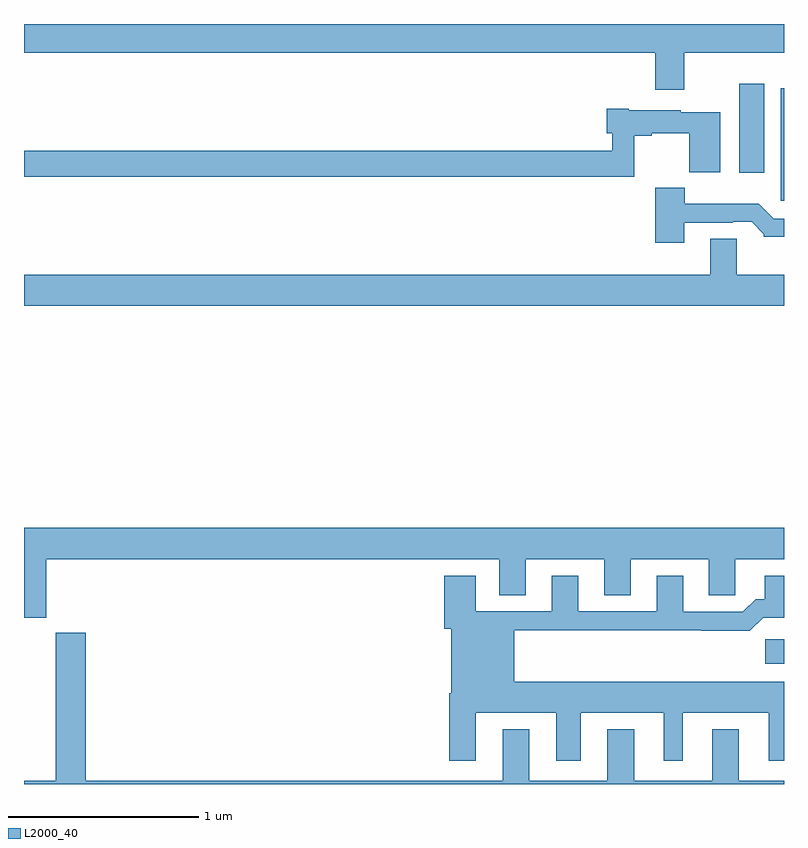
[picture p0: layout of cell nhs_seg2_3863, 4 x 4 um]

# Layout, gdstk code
import gdstk
lib = gdstk.Library(unit=1e-6, precision=1e-09)
def R(c, l, rs):  # rectangles x0, y0, x1, y1
    for r in rs: c.add(gdstk.rectangle(r[:2], r[2:], *l))
def P(c, l, *ps):  # polygons
    for p in ps: c.add(gdstk.Polygon(p, *l))
L2000_40 = (2000, 40)

nhs_seg2_3863 = lib.new_cell('nhs_seg2_3863')
R(nhs_seg2_3863, L2000_40, [(318.9,632.432,319,632.561), (318.983,634.869,319,635.461), (318.764,635.016,318.895,635.485)])
P(nhs_seg2_3863, L2000_40, [(318.475,635.648),(319,635.648),(319,635.8),(315,635.8),(315,635.648),(318.323,635.648),(318.323,635.454),(318.475,635.454)],
  [(318.212,635.213),(318.304,635.213),(318.304,635.225),(318.502,635.225),(318.502,635.021),(318.664,635.021),(318.664,635.335),(318.456,635.335),(318.456,635.347),(318.184,635.347),(318.184,635.355),(318.068,635.355),(318.068,635.225),(318.095,635.225),(318.095,635.132),(315,635.132),(315,634.996),(318.212,634.996)],
  [(318.475,634.755),(318.731,634.755),(318.731,634.758),(318.83,634.758),(318.894,634.694),(318.894,634.679),(319,634.679),(319,634.776),(318.945,634.776),(318.867,634.855),(318.478,634.855),(318.478,634.939),(318.323,634.939),(318.323,634.65),(318.475,634.65)],
  [(319,634.48),(318.751,634.48),(318.751,634.67),(318.611,634.67),(318.611,634.48),(315,634.48),(315,634.316),(319,634.316)],
  [(315.118,632.984),(317.501,632.984),(317.501,632.794),(317.641,632.794),(317.641,632.984),(318.053,632.984),(318.053,632.794),(318.193,632.794),(318.193,632.984),(318.605,632.984),(318.605,632.794),(318.744,632.794),(318.744,632.984),(319,632.984),(319,633.148),(315,633.148),(315,632.675),(315.118,632.675)],
  [(317.377,632.174),(317.801,632.174),(317.801,631.923),(317.929,631.923),(317.929,632.174),(318.368,632.174),(318.368,631.923),(318.466,631.923),(318.466,632.174),(318.92,632.174),(318.92,631.923),(319,631.923),(319,632.338),(317.581,632.338),(317.581,632.608),(318.565,632.608),(318.565,632.606),(318.821,632.606),(318.89,632.675),(319,632.675),(319,632.896),(318.899,632.896),(318.899,632.773),(318.85,632.773),(318.783,632.706),(318.469,632.706),(318.469,632.896),(318.329,632.896),(318.329,632.709),(317.917,632.709),(317.917,632.896),(317.777,632.896),(317.777,632.709),(317.377,632.709),(317.377,632.896),(317.213,632.896),(317.213,632.616),(317.249,632.616),(317.249,632.278),(317.237,632.278),(317.237,631.923),(317.377,631.923)],
  [(319,631.816),(318.763,631.816),(318.763,632.089),(318.623,632.089),(318.623,631.816),(318.211,631.816),(318.211,632.089),(318.071,632.089),(318.071,631.816),(317.659,631.816),(317.659,632.089),(317.519,632.089),(317.519,631.816),(315.326,631.816),(315.326,632.596),(315.166,632.596),(315.166,631.816),(315,631.816),(315,631.8),(319,631.8)])

lib.write_gds('nhs_seg2_3863.gds')
